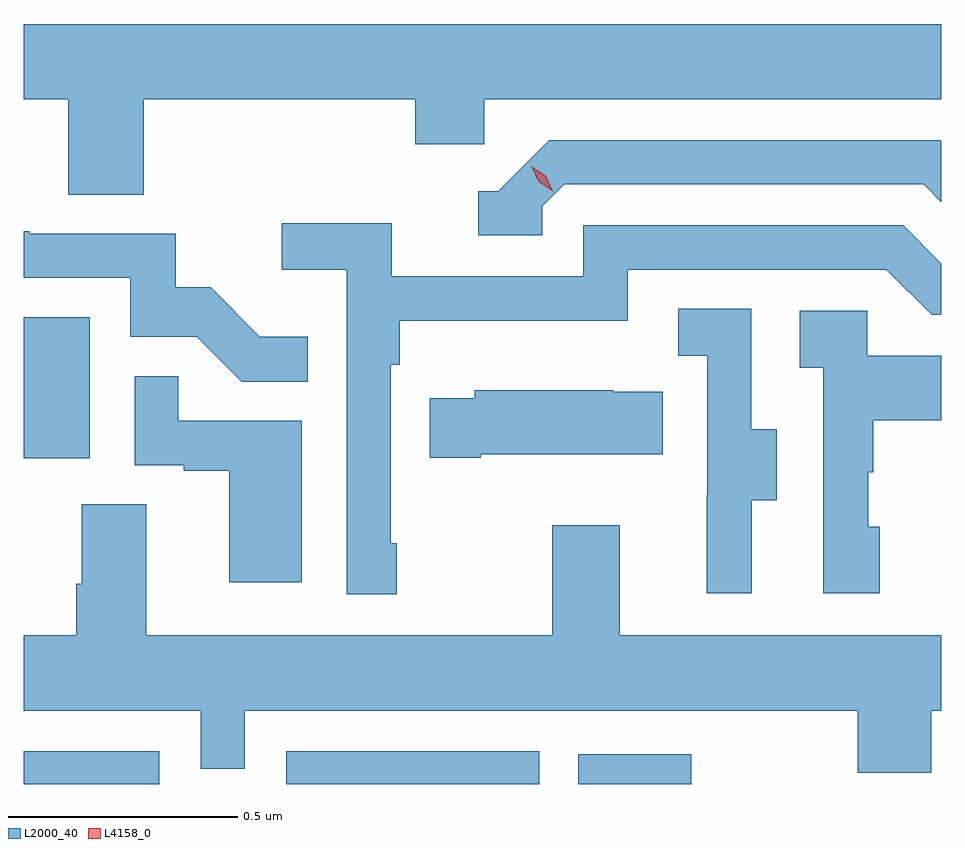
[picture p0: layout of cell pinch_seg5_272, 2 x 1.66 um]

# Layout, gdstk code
import gdstk
lib = gdstk.Library(unit=1e-6, precision=1e-09)
def R(c, l, rs):  # rectangles x0, y0, x1, y1
    for r in rs: c.add(gdstk.rectangle(r[:2], r[2:], *l))
def P(c, l, *ps):  # polygons
    for p in ps: c.add(gdstk.Polygon(p, *l))
L2000_40 = (2000, 40)
L4158_0 = (4158, 0)

pinch_seg5_272 = lib.new_cell('pinch_seg5_272')
R(pinch_seg5_272, L2000_40, [(912.814,909.88,913.11,909.951), (913.386,909.88,913.938,909.951), (914.023,909.88,914.269,909.945), (912.814,910.59,912.958,910.897)])
P(pinch_seg5_272, L2000_40, [(913.076,911.372),(913.667,911.372),(913.667,911.274),(913.818,911.274),(913.818,911.372),(914.814,911.372),(914.814,911.536),(912.814,911.536),(912.814,911.372),(912.911,911.372),(912.911,911.164),(913.076,911.164)],
  [(913.944,911.139),(913.992,911.187),(914.775,911.187),(914.814,911.148),(914.814,911.281),(914.812,911.283),(913.959,911.283),(913.848,911.172),(913.805,911.172),(913.805,911.076),(913.944,911.076)],
  [(913.627,910.405),(913.614,910.405),(913.614,910.793),(913.634,910.793),(913.634,910.889),(914.13,910.889),(914.13,911.001),(914.694,911.001),(914.793,910.902),(914.814,910.902),(914.814,911.014),(914.731,911.097),(914.034,911.097),(914.034,910.986),(913.616,910.986),(913.616,911.102),(913.377,911.102),(913.377,911),(913.518,911),(913.518,910.293),(913.627,910.293)],
  [(913.433,910.855),(913.329,910.855),(913.222,910.962),(913.146,910.962),(913.146,911.079),(912.827,911.079),(912.827,911.084),(912.814,911.084),(912.814,910.983),(913.047,910.983),(913.047,910.854),(913.191,910.854),(913.289,910.756),(913.433,910.756)],
  [(914.401,910.498),(914.455,910.498),(914.455,910.653),(914.4,910.653),(914.4,910.916),(914.241,910.916),(914.241,910.813),(914.304,910.813),(914.304,910.509),(914.303,910.509),(914.303,910.296),(914.401,910.296)],
  [(914.68,910.44),(914.655,910.44),(914.655,910.559),(914.665,910.559),(914.665,910.673),(914.814,910.673),(914.814,910.813),(914.652,910.813),(914.652,910.911),(914.505,910.911),(914.505,910.787),(914.556,910.787),(914.556,910.296),(914.68,910.296)],
  [(913.42,910.671),(913.151,910.671),(913.151,910.769),(913.056,910.769),(913.056,910.575),(913.163,910.575),(913.163,910.563),(913.262,910.563),(913.262,910.32),(913.42,910.32)],
  [(913.81,910.598),(914.207,910.598),(914.207,910.735),(914.099,910.735),(914.099,910.738),(913.797,910.738),(913.797,910.72),(913.699,910.72),(913.699,910.591),(913.81,910.591)],
  [(914.792,910.04),(914.814,910.04),(914.814,910.204),(914.113,910.204),(914.113,910.444),(913.966,910.444),(913.966,910.204),(913.081,910.204),(913.081,910.49),(912.941,910.49),(912.941,910.316),(912.929,910.316),(912.929,910.204),(912.814,910.204),(912.814,910.04),(913.2,910.04),(913.2,909.913),(913.296,909.913),(913.296,910.04),(914.632,910.04),(914.632,909.905),(914.792,909.905)])
P(pinch_seg5_272, L4158_0, [(913.967,911.172),(913.937,911.192),(913.921,911.225),(913.921,911.225),(913.921,911.225),(913.952,911.205),(913.967,911.172),(913.967,911.172)])

lib.write_gds('pinch_seg5_272.gds')
